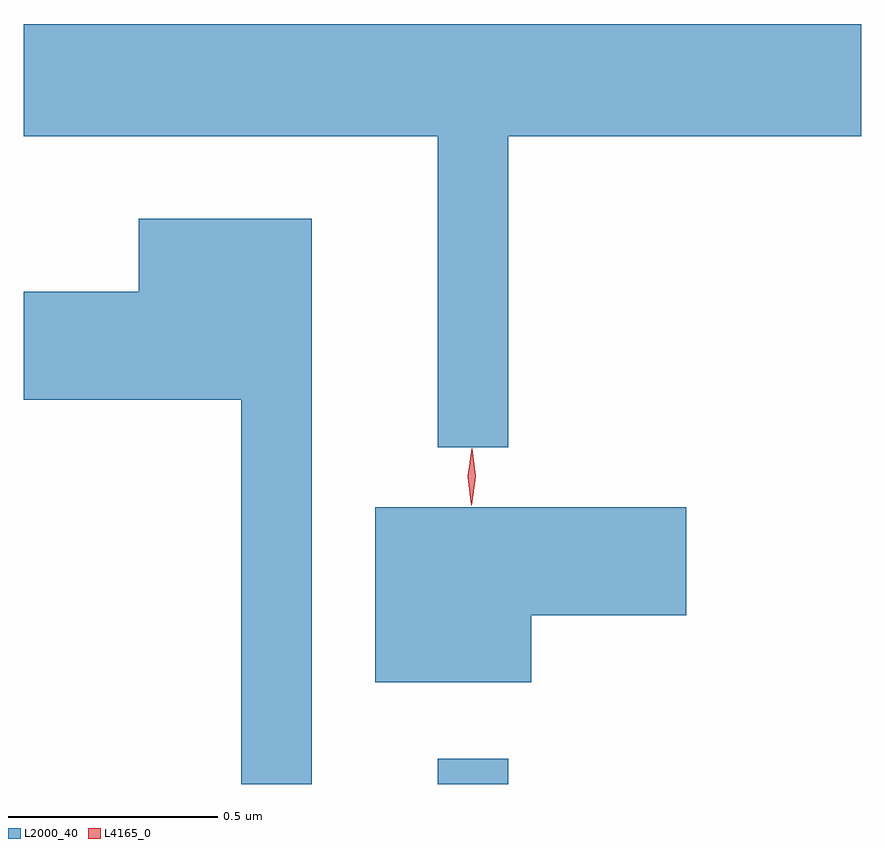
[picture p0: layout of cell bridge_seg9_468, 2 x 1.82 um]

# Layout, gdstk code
import gdstk
lib = gdstk.Library(unit=1e-6, precision=1e-09)
def R(c, l, rs):  # rectangles x0, y0, x1, y1
    for r in rs: c.add(gdstk.rectangle(r[:2], r[2:], *l))
def P(c, l, *ps):  # polygons
    for p in ps: c.add(gdstk.Polygon(p, *l))
L2000_40 = (2000, 40)
L4165_0 = (4165, 0)

bridge_seg9_468 = lib.new_cell('bridge_seg9_468')
R(bridge_seg9_468, L2000_40, [(396.571,2076.848,396.739,2076.908)])
P(bridge_seg9_468, L2000_40, [(396.739,2078.396),(397.582,2078.396),(397.582,2078.664),(395.582,2078.664),(395.582,2078.396),(396.571,2078.396),(396.571,2077.653),(396.739,2077.653)],
  [(396.269,2078.199),(395.856,2078.199),(395.856,2078.024),(395.582,2078.024),(395.582,2077.766),(396.101,2077.766),(396.101,2076.848),(396.269,2076.848)],
  [(396.794,2077.251),(397.164,2077.251),(397.164,2077.509),(396.421,2077.509),(396.421,2077.091),(396.794,2077.091)])
P(bridge_seg9_468, L4165_0, [(396.651,2077.514),(396.651,2077.514),(396.642,2077.582),(396.652,2077.65),(396.653,2077.65),(396.653,2077.65),(396.662,2077.582),(396.652,2077.514)],
  [(396.651,2077.52),(396.65,2077.521),(396.642,2077.584),(396.652,2077.646),(396.653,2077.647),(396.653,2077.646),(396.662,2077.584),(396.651,2077.521)])

lib.write_gds('bridge_seg9_468.gds')
